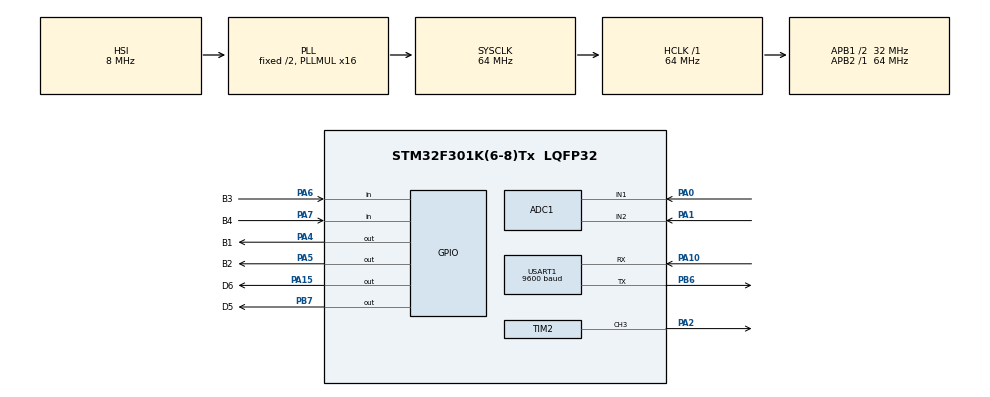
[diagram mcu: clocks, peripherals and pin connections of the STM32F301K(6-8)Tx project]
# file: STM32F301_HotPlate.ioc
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ADC1.Channel-0\#ChannelRegularConversion=ADC_CHANNEL_1
ADC1.Channel-1\#ChannelRegularConversion=ADC_CHANNEL_2
ADC1.DMAContinuousRequests=ENABLE
ADC1.EOCSelection=ADC_EOC_SEQ_CONV
ADC1.ExternalTrigConv=ADC_EXTERNALTRIGCONV_T1_TRGO
ADC1.NbrOfConversion=2
ADC1.NbrOfConversionFlag=1
ADC1.Offset-0\#ChannelRegularConversion=0
ADC1.Offset-1\#ChannelRegularConversion=0
ADC1.OffsetNumber-0\#ChannelRegularConversion=ADC_OFFSET_NONE
ADC1.OffsetNumber-1\#ChannelRegularConversion=ADC_OFFSET_NONE
ADC1.Rank-0\#ChannelRegularConversion=1
ADC1.Rank-1\#ChannelRegularConversion=2
ADC1.SamplingTime-0\#ChannelRegularConversion=ADC_SAMPLETIME_61CYCLES_5
ADC1.SamplingTime-1\#ChannelRegularConversion=ADC_SAMPLETIME_61CYCLES_5
ADC1.master=1
Dma.ADC1.0.Direction=DMA_PERIPH_TO_MEMORY
Dma.ADC1.0.Instance=DMA1_Channel1
Dma.ADC1.0.MemDataAlignment=DMA_MDATAALIGN_WORD
Dma.ADC1.0.MemInc=DMA_MINC_ENABLE
Dma.ADC1.0.Mode=DMA_CIRCULAR
Dma.ADC1.0.PeriphDataAlignment=DMA_PDATAALIGN_HALFWORD
Dma.ADC1.0.PeriphInc=DMA_PINC_DISABLE
Dma.ADC1.0.Priority=DMA_PRIORITY_LOW
Dma.Request0=ADC1
Dma.Request1=USART1_RX
Dma.Request2=USART1_TX
Dma.USART1_RX.1.Direction=DMA_PERIPH_TO_MEMORY
Dma.USART1_RX.1.Instance=DMA1_Channel5
Dma.USART1_RX.1.MemDataAlignment=DMA_MDATAALIGN_BYTE
Dma.USART1_RX.1.MemInc=DMA_MINC_ENABLE
Dma.USART1_RX.1.Mode=DMA_CIRCULAR
Dma.USART1_RX.1.PeriphDataAlignment=DMA_PDATAALIGN_BYTE
Dma.USART1_RX.1.PeriphInc=DMA_PINC_DISABLE
Dma.USART1_RX.1.Priority=DMA_PRIORITY_LOW
Dma.USART1_TX.2.Direction=DMA_MEMORY_TO_PERIPH
Dma.USART1_TX.2.Instance=DMA1_Channel4
Dma.USART1_TX.2.MemDataAlignment=DMA_MDATAALIGN_BYTE
Dma.USART1_TX.2.MemInc=DMA_MINC_ENABLE
Dma.USART1_TX.2.Mode=DMA_NORMAL
Dma.USART1_TX.2.PeriphDataAlignment=DMA_PDATAALIGN_BYTE
Dma.USART1_TX.2.PeriphInc=DMA_PINC_DISABLE
Dma.USART1_TX.2.Priority=DMA_PRIORITY_LOW
Mcu.Family=STM32F3
Mcu.Name=STM32F301K(6-8)Tx
Mcu.Package=LQFP32
NVIC.ADC1_IRQn=true\:0\:0\:false\:false\:true\:true\:true\:true
NVIC.DMA1_Channel1_IRQn=true\:0\:0\:false\:false\:true\:false\:true\:true
NVIC.DMA1_Channel4_IRQn=true\:0\:0\:false\:false\:true\:false\:true\:true
NVIC.DMA1_Channel5_IRQn=true\:0\:0\:false\:false\:true\:false\:true\:true
NVIC.PriorityGroup=NVIC_PRIORITYGROUP_4
NVIC.USART1_IRQn=true\:0\:0\:false\:false\:true\:true\:true\:true
PA0.Mode=IN1-Single-Ended
PA0.Signal=ADC1_IN1
PA1.Mode=IN2-Single-Ended
PA1.Signal=ADC1_IN2
PA10.Mode=Asynchronous
PA10.Signal=USART1_RX
PA13.Mode=Serial_Wire
PA13.Signal=SYS_JTMS-SWDIO
PA14.Mode=Serial_Wire
PA14.Signal=SYS_JTCK-SWCLK
PA15.GPIO_Label=D6
PA15.Signal=GPIO_Output
PA2.Signal=S_TIM2_CH3
PA4.GPIO_Label=B1
PA4.Signal=GPIO_Output
PA5.GPIO_Label=B2
PA5.Signal=GPIO_Output
PA6.GPIO_Label=B3
PA6.Signal=GPIO_Input
PA7.GPIO_Label=B4
PA7.Signal=GPIO_Input
PB6.Mode=Asynchronous
PB6.Signal=USART1_TX
PB7.GPIO_Label=D5
PB7.Signal=GPIO_Output
ProjectManager.HeapSize=0x200
ProjectManager.StackSize=0x400
ProjectManager.TargetToolchain=STM32CubeIDE
RCC.AHBFreq_Value=64000000
RCC.APB1CLKDivider=RCC_HCLK_DIV2
RCC.APB1Freq_Value=32000000
RCC.APB1TimFreq_Value=64000000
RCC.APB2Freq_Value=64000000
RCC.APB2TimFreq_Value=64000000
RCC.CortexFreq_Value=64000000
RCC.HCLKFreq_Value=64000000
RCC.HSE_VALUE=8000000
RCC.HSI_VALUE=8000000
RCC.PLLMUL=RCC_PLL_MUL16
RCC.SYSCLKFreq_VALUE=64000000
RCC.SYSCLKSourceVirtual=RCC_SYSCLKSOURCE_PLLCLK
SH.S_TIM2_CH3.0=TIM2_CH3,PWM Generation3 CH3
TIM1.Period=2000 - 1
TIM1.Prescaler=64 - 1
TIM1.TIM_MasterOutputTrigger=TIM_TRGO_UPDATE
TIM2.AutoReloadPreload=TIM_AUTORELOAD_PRELOAD_DISABLE
TIM2.Channel-PWM\ Generation3\ CH3=TIM_CHANNEL_3
TIM2.OCFastMode_PWM-PWM\ Generation3\ CH3=TIM_OCFAST_DISABLE
TIM2.Period=255-1
TIM2.Prescaler=6400-1
TIM2.Pulse-PWM\ Generation3\ CH3=1
TIM6.Period=65535
TIM6.Prescaler=64-1
USART1.AutoBaudRateEnableParam=UART_ADVFEATURE_AUTOBAUDRATE_DISABLE
USART1.BaudRate=9600
USART1.VirtualMode-Asynchronous=VM_ASYNC
VP_TIM15_VS_ClockSourceINT.Mode=Internal
VP_TIM1_VS_ClockSourceINT.Mode=Internal
VP_TIM2_VS_ClockSourceINT.Mode=Internal
VP_TIM6_VS_ClockSourceINT.Mode=Enable_Timer
board=custom

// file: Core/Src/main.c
/* USER CODE BEGIN Header */
/**
 ******************************************************************************
 * @file           : main.c
 * @brief          : Main program body
 ******************************************************************************
 * @attention
 *
 * Copyright (c) 2025 STMicroelectronics.
 * All rights reserved.
 *
 * This software is licensed under terms that can be found in the LICENSE file
 * in the root directory of this software component.
 * If no LICENSE file comes with this software, it is provided AS-IS.
 *
 ******************************************************************************
 */
/* USER CODE END Header */
#include "main.h"
#include "adc.h"
#include "dma.h"
#include "tim.h"
#include "usart.h"
#include "gpio.h"

/* USER CODE BEGIN Includes */
#include "pid.h"
#include <math.h>
#include <stdio.h>
#include <string.h>
#include <pid.h>
/* USER CODE END Includes */

void SystemClock_Config(void);
/* USER CODE BEGIN PFP */
float ntc_get_temperature(uint32_t adc_value);
/* USER CODE END PFP */

/* USER CODE BEGIN 0 */

#define ADC1_RES     4095.0    // Auflösung (12 Bit: 2^12 - 1)
#define R_Seri_T       6800.0	//
#define A_COEFF_T     0.0924917  // a in Ohm
#define B_COEFF_T     4135.86     // b in Kelvin 4135.86
#define BUFFER_SIZE 64

uint32_t PWM_Duty_T2C3 = 1;

int pispeed[5] = { 1, 10, 20, 100, 500 };
volatile uint32_t ADC1_Reading[2] = { 0, 0 };
volatile uint32_t temp_data = 1;
volatile uint32_t m_tim1_set_value = 0;
const float t_kp = 0.08;
const float t_ki = 0.002;
const float t_kd = 0.0001;
volatile float t_imem;
volatile float t_previous_measurement = 0;
volatile uint32_t t_value;

//uint8_t HeatMode = 0b00000000;
float TempSetPoint = 0;

char UART_pData_TX[BUFFER_SIZE];
char UART_pData_RX[BUFFER_SIZE];
char DMA_BUFFER[BUFFER_SIZE];

volatile uint16_t globalTime = 0;
volatile uint16_t globalLastTime = 0;
volatile uint16_t globalElapsedTime = 0;
volatile uint16_t lastTime = 0;

//uint32_t tempAddLastTime = 0;
//uint32_t tempAddTimer = 10; 		//temperature add timer
//uint16_t tempSetValue = 20;			//20°C
//uint16_t tempMaxValue = 150;	//defines max temperature value, init with 150°C

/* USER CODE END 0 */

int main(void)
{

  /* MCU Configuration--------------------------------------------------------*/

  /* Reset of all peripherals, Initializes the Flash interface and the Systick. */
  HAL_Init();

  /* USER CODE BEGIN Init */

	PID_f temp_pid;
	pid_begin(&temp_pid, t_kp, t_ki, t_kd, 255, 0, t_previous_measurement, t_imem);
  /* USER CODE END Init */

  /* Configure the system clock */
  SystemClock_Config();

  /* Initialize all configured peripherals */
  MX_GPIO_Init();
  MX_DMA_Init();
  MX_ADC1_Init();
  MX_TIM2_Init();
  MX_TIM1_Init();
  MX_USART1_UART_Init();
  MX_TIM15_Init();
  MX_TIM6_Init();

  /* Infinite loop */
  /* USER CODE BEGIN WHILE */

	HAL_TIM_Base_Start(&htim1);
	HAL_TIM_Base_Start(&htim6); // runs on 1000Hz update rate
	HAL_TIM_PWM_Start(&htim2, TIM_CHANNEL_3);
	HAL_ADCEx_Calibration_Start(&hadc1, ADC_SINGLE_ENDED);
	HAL_ADC_Start_DMA(&hadc1, (uint32_t*) ADC1_Reading, 2);

	//temp_pi.setpoint = pispeed[2];
	temp_pid.setpoint = 100;
	TIM2->CCR3 = PWM_Duty_T2C3;

	while (1) {
		globalLastTime = __HAL_TIM_GET_COUNTER(&htim6);
		HAL_GPIO_TogglePin(GPIOA, GPIO_PIN_15);

		t_value = ADC1_Reading[0];
		temp_pid.measurement = ntc_get_temperature(t_value);
		sprintf(DMA_BUFFER, "Reg: %i, Temp [°C]; %i, ElapsedTime [us]; %i, PWM [DC]; %i\n\r",
				(int) t_value, (int) ntc_get_temperature(t_value),(int) globalElapsedTime, (int) temp_pid.output);

		pid_parallel_t(&temp_pid, (float) globalElapsedTime/1000.0f); //globalElapsedTime/1000.0f
		TIM2->CCR3 = (uint32_t) temp_pid.output;

		HAL_UART_Transmit_DMA(&huart1, (uint8_t*) DMA_BUFFER,
				strlen(DMA_BUFFER));
		HAL_Delay(1);

		globalTime = __HAL_TIM_GET_COUNTER(&htim6);
		globalElapsedTime = globalTime - globalLastTime;

    /* USER CODE END WHILE */

	}
}

void SystemClock_Config(void)
{
  RCC_OscInitTypeDef RCC_OscInitStruct = {0};
  RCC_ClkInitTypeDef RCC_ClkInitStruct = {0};
  RCC_PeriphCLKInitTypeDef PeriphClkInit = {0};

  /** Initializes the RCC Oscillators according to the specified parameters
  * in the RCC_OscInitTypeDef structure.
  */
  RCC_OscInitStruct.OscillatorType = RCC_OSCILLATORTYPE_HSI;
  RCC_OscInitStruct.HSIState = RCC_HSI_ON;
  RCC_OscInitStruct.HSICalibrationValue = RCC_HSICALIBRATION_DEFAULT;
  RCC_OscInitStruct.PLL.PLLState = RCC_PLL_ON;
  RCC_OscInitStruct.PLL.PLLSource = RCC_PLLSOURCE_HSI;
  RCC_OscInitStruct.PLL.PLLMUL = RCC_PLL_MUL16;
  if (HAL_RCC_OscConfig(&RCC_OscInitStruct) != HAL_OK)
  {
    Error_Handler();
  }

  /** Initializes the CPU, AHB and APB buses clocks
  */
  RCC_ClkInitStruct.ClockType = RCC_CLOCKTYPE_HCLK|RCC_CLOCKTYPE_SYSCLK
                              |RCC_CLOCKTYPE_PCLK1|RCC_CLOCKTYPE_PCLK2;
  RCC_ClkInitStruct.SYSCLKSource = RCC_SYSCLKSOURCE_PLLCLK;
  RCC_ClkInitStruct.AHBCLKDivider = RCC_SYSCLK_DIV1;
  RCC_ClkInitStruct.APB1CLKDivider = RCC_HCLK_DIV2;
  RCC_ClkInitStruct.APB2CLKDivider = RCC_HCLK_DIV1;

  if (HAL_RCC_ClockConfig(&RCC_ClkInitStruct, FLASH_LATENCY_2) != HAL_OK)
  {
    Error_Handler();
  }
  PeriphClkInit.PeriphClockSelection = RCC_PERIPHCLK_USART1|RCC_PERIPHCLK_TIM1
                              |RCC_PERIPHCLK_TIM15|RCC_PERIPHCLK_ADC1;
  PeriphClkInit.Usart1ClockSelection = RCC_USART1CLKSOURCE_PCLK1;
  PeriphClkInit.Tim1ClockSelection = RCC_TIM1CLK_HCLK;
  PeriphClkInit.Tim15ClockSelection = RCC_TIM15CLK_HCLK;
  PeriphClkInit.Adc1ClockSelection = RCC_ADC1PLLCLK_DIV1;

  if (HAL_RCCEx_PeriphCLKConfig(&PeriphClkInit) != HAL_OK)
  {
    Error_Handler();
  }
}

/* USER CODE BEGIN 4 */

float ntc_get_temperature(uint32_t adc_value) {

        float V = (adc_value / ADC1_RES) * 3.3;
        float R_ntc = R_Seri_T * (V / (3.3 - V));

        float lnR = logf(R_ntc);
        float lnA = logf(A_COEFF_T);

        float T_K = B_COEFF_T / (lnR - lnA);  // Temperatur in Kelvin
        float T_C = T_K - 273.15;           // in °C umrechnen

        return T_C;
    }
/* USER CODE END 4 */

void Error_Handler(void)
{
	__disable_irq();
	while (1) {
	}
}
